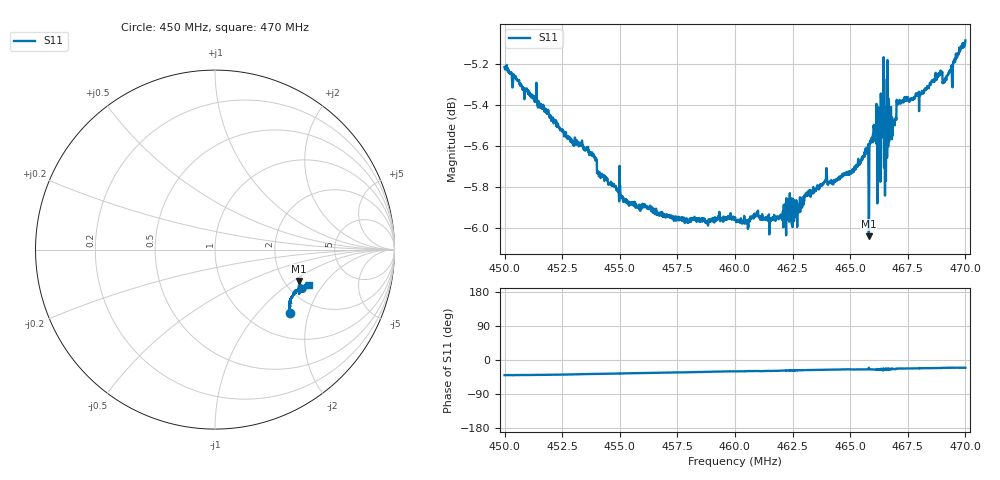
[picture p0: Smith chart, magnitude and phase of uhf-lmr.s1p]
! Calibrated averaged scanner-service zoom
# Hz S RI R 50
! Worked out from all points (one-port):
!   2001 points, 450 MHz to 470 MHz, reference 50 ohm
!   lowest |S11| = -6.0 dB at 465.81 MHz (marker M1), VSWR 2.99, Z = 120 - j55.5 ohm
!   |S11| at or under -10 dB: nowhere
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4.5e8  0.4199 -0.353
4.525e8  0.4148 -0.3295
4.5389e8  0.4178 -0.3121
4.5411e8  0.4142 -0.3076
4.55e8  0.4136 -0.3025
4.575e8  0.4228 -0.2736
4.6e8  0.4375 -0.2508
4.6066e8  0.4399 -0.2469
4.6111e8  0.4396 -0.247
4.625e8  0.4434 -0.2343
4.639e8  0.4634 -0.2237
4.65e8  0.4708 -0.2147
4.6568e8  0.4752 -0.2197
4.6573e8  0.4752 -0.2202
4.6581e8  0.4676 -0.1741
4.6589e8  0.4777 -0.221
4.6594e8  0.4786 -0.2213
4.6607e8  0.4801 -0.2244
4.6628e8  0.4774 -0.2235
4.6643e8  0.4672 -0.2471
4.6664e8  0.4885 -0.2135
4.6672e8  0.4798 -0.2245
4.669e8  0.4865 -0.2134
4.6711e8  0.4973 -0.2048
4.675e8  0.4987 -0.2056
4.689e8  0.5092 -0.1974
4.6935e8  0.513 -0.1916
4.7e8  0.5216 -0.1946
